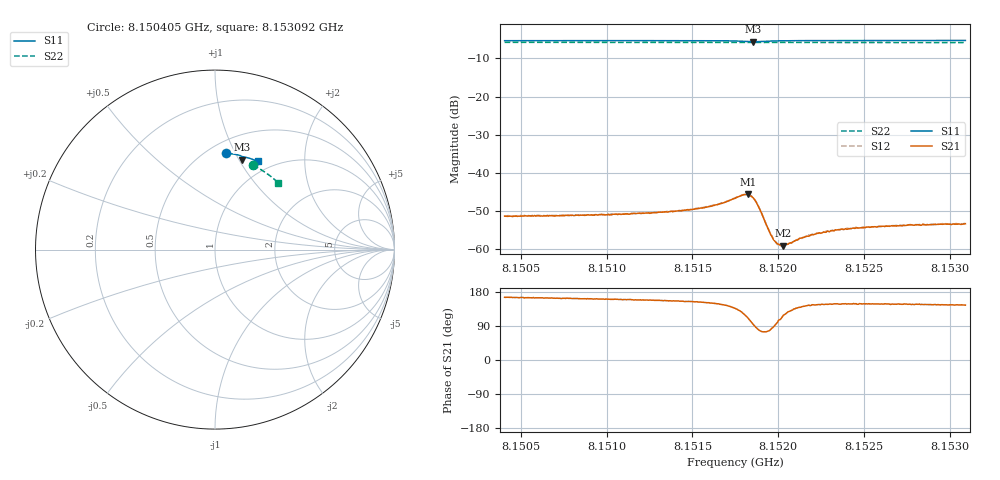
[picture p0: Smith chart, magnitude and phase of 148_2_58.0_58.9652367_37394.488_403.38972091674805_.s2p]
#  HZ  S  RI  R  50.00
! Rohde & Schwarz Vector Network Analyzer
! Rohde-Schwarz,ZNB20-2Port,1311601062101988,3.16
! Created: UTC 3/21/2024, 12:56:55 AM
! freq[Hz]  re:S11  im:S11  re:S21  im:S21  re:S12  im:S12  re:S22  im:S22
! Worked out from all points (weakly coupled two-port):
!   401 points, 8.150405 GHz to 8.153092 GHz, reference 50 ohm
!   highest |S21| = -45.68 dB at 8.151822 GHz (marker M1); lowest = -59.1 dB at 8.15203 GHz (marker M2)
!   lowest |S11| = -5.6 dB at 8.151856 GHz (marker M3), VSWR 3.20, Z = 37.4 + j51.7 ohm
!   |S11| at or under -10 dB: nowhere
!   |S22| runs from -5.8 to -5.8 dB; largest |S21 - S12| = 0.00013
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8.1504046e9  0.0602 0.5379  -0.00261 0.000677  -0.0026 0.000719  0.2121 0.4696
8.1508547e9  0.092 0.5341  -0.00263 0.00088  -0.00263 0.00092  0.238 0.4563
8.1513048e9  0.1238 0.5283  -0.00282 0.00117  -0.0028 0.0012  0.2632 0.4417
8.1514795e9  0.1368 0.5249  -0.00293 0.00139  -0.00294 0.00147  0.2726 0.4355
8.1515668e9  0.1436 0.5227  -0.00307 0.00163  -0.00308 0.00173  0.2772 0.4324
8.1516608e9  0.1514 0.5192  -0.0033 0.00214  -0.00328 0.0022  0.2823 0.429
8.1517482e9  0.1586 0.5127  -0.00335 0.00319  -0.00336 0.00327  0.2869 0.4255
8.1517952e9  0.1601 0.5062  -0.00279 0.0043  -0.00279 0.00435  0.2892 0.4236
8.151822e9  0.1582 0.5022  -0.00193 0.00483  -0.00185 0.00489  0.2904 0.4226
8.1518422e9  0.1551 0.5008  -0.000906 0.00485  -0.000859 0.00492  0.2912 0.4218
8.1518556e9  0.1525 0.501  -0.000264 0.00464  -0.000205 0.00469  0.2918 0.4216
8.1518892e9  0.1491 0.5055  0.000694 0.00338  0.000735 0.00342  0.2935 0.4204
8.151943e9  0.1523 0.5126  0.00042 0.00175  0.000441 0.00178  0.2963 0.4187
8.1519698e9  0.1553 0.5143  9.63e-05 0.00136  0.00014 0.00138  0.2978 0.4178
8.1519967e9  0.1582 0.5151  -0.000201 0.00115  -0.000225 0.00112  0.2992 0.4168
8.1520101e9  0.1597 0.5153  -0.000318 0.00108  -0.000322 0.00107  0.2999 0.4163
8.1520303e9  0.1618 0.5155  -0.00052 0.000973  -0.000496 0.00103  0.3009 0.4154
8.1521378e9  0.1716 0.5146  -0.00108 0.000887  -0.00104 0.000906  0.3065 0.4113
8.1521982e9  0.1764 0.5136  -0.00128 0.000866  -0.00127 0.000921  0.3095 0.4089
8.1523594e9  0.1884 0.5101  -0.00151 0.000966  -0.0015 0.000991  0.3177 0.4023
8.1526483e9  0.2081 0.5032  -0.00168 0.00106  -0.00171 0.00109  0.3318 0.3904
8.1530917e9  0.2372 0.4911  -0.00176 0.00124  -0.00174 0.00125  0.3524 0.3711
